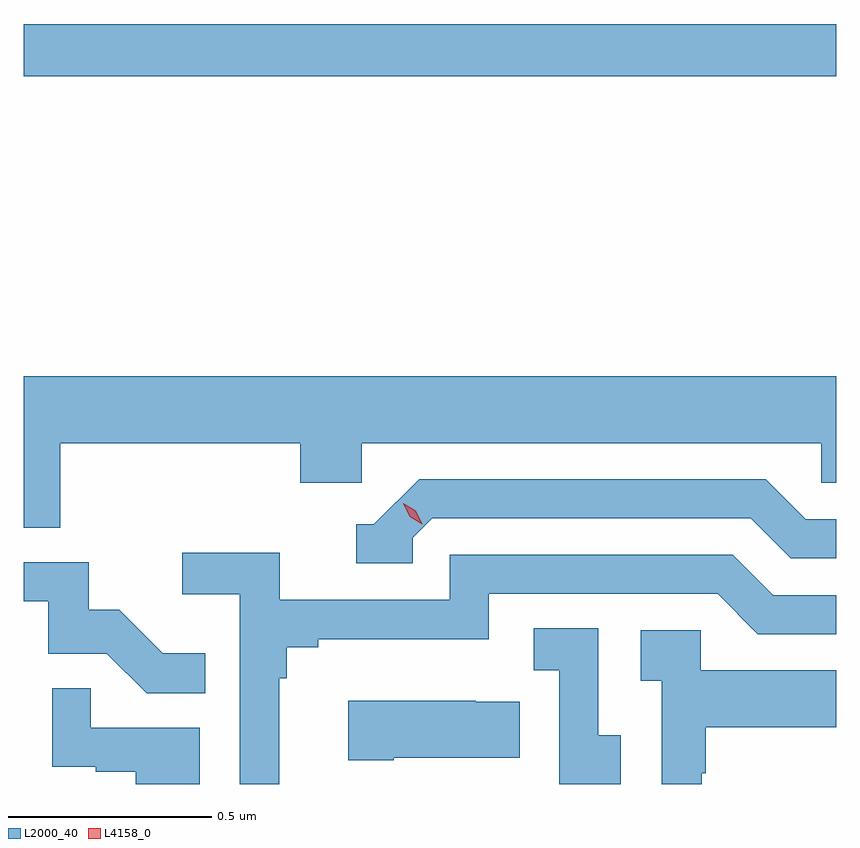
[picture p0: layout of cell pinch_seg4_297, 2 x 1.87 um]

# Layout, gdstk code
import gdstk
lib = gdstk.Library(unit=1e-6, precision=1e-09)
def R(c, l, rs):  # rectangles x0, y0, x1, y1
    for r in rs: c.add(gdstk.rectangle(r[:2], r[2:], *l))
def P(c, l, *ps):  # polygons
    for p in ps: c.add(gdstk.Polygon(p, *l))
L2000_40 = (2000, 40)
L4158_0 = (4158, 0)

pinch_seg4_297 = lib.new_cell('pinch_seg4_297')
R(pinch_seg4_297, L2000_40, [(901.664,808.378,903.664,808.507)])
P(pinch_seg4_297, L2000_40, [(901.754,807.476),(902.345,807.476),(902.345,807.378),(902.496,807.378),(902.496,807.476),(903.627,807.476),(903.627,807.378),(903.664,807.378),(903.664,807.64),(901.664,807.64),(901.664,807.268),(901.754,807.268)],
  [(902.622,807.243),(902.67,807.291),(903.453,807.291),(903.552,807.192),(903.664,807.192),(903.664,807.288),(903.589,807.288),(903.49,807.387),(902.637,807.387),(902.526,807.276),(902.483,807.276),(902.483,807.18),(902.622,807.18)],
  [(902.293,806.897),(902.312,806.897),(902.312,806.974),(902.389,806.974),(902.389,806.993),(902.808,806.993),(902.808,807.105),(903.372,807.105),(903.471,807.006),(903.664,807.006),(903.664,807.102),(903.508,807.102),(903.409,807.201),(902.712,807.201),(902.712,807.09),(902.294,807.09),(902.294,807.206),(902.055,807.206),(902.055,807.104),(902.196,807.104),(902.196,806.637),(902.293,806.637)],
  [(902.111,806.959),(902.007,806.959),(901.9,807.066),(901.824,807.066),(901.824,807.183),(901.664,807.183),(901.664,807.087),(901.725,807.087),(901.725,806.958),(901.869,806.958),(901.967,806.86),(902.111,806.86)],
  [(903.133,806.757),(903.078,806.757),(903.078,807.02),(902.919,807.02),(902.919,806.917),(902.982,806.917),(902.982,806.637),(903.133,806.637)],
  [(903.333,806.663),(903.343,806.663),(903.343,806.777),(903.664,806.777),(903.664,806.917),(903.33,806.917),(903.33,807.015),(903.183,807.015),(903.183,806.891),(903.234,806.891),(903.234,806.637),(903.333,806.637)],
  [(902.098,806.775),(901.829,806.775),(901.829,806.873),(901.734,806.873),(901.734,806.679),(901.841,806.679),(901.841,806.667),(901.94,806.667),(901.94,806.637),(902.098,806.637)],
  [(902.575,806.702),(902.885,806.702),(902.885,806.839),(902.777,806.839),(902.777,806.842),(902.463,806.842),(902.463,806.695),(902.575,806.695)])
P(pinch_seg4_297, L4158_0, [(902.645,807.276),(902.614,807.295),(902.598,807.328),(902.598,807.328),(902.598,807.328),(902.629,807.309),(902.645,807.276),(902.645,807.276)])

lib.write_gds('pinch_seg4_297.gds')
